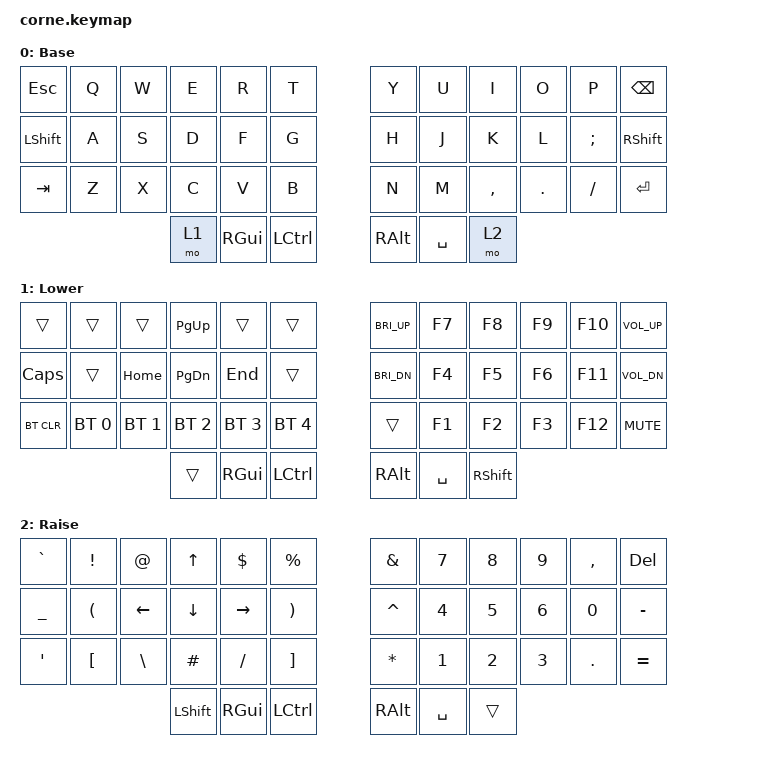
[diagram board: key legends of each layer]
/*
 * Copyright (c) 2020 The ZMK Contributors
 *
 * SPDX-License-Identifier: MIT
 */

#include <behaviors.dtsi>
#include <dt-bindings/zmk/keys.h>
#include <dt-bindings/zmk/bt.h>

/ {
        keymap {
                compatible = "zmk,keymap";

                default_layer {
// -----------------------------------------------------------------------------------------
// | ESC  |  Q  |  W  |  E  |  R  |  T  |   |  Y  |  U  |  I  |  O  |  P  | BKSP |
// | SHFT  |  A  |  S  |  D  |  F  |  G  |   |  H  |  J  |  K  |  L  |  ;  | SHFT  |
// | TAB |  Z  |  X  |  C  |  V  |  B  |   |  N  |  M  |  ,  |  .  |  /  | ENT |
//                    | LWR | GUI | CTRL|   | ALT | SPC | RSE |
                        label = "Base";
                        bindings = <
   &kp ESC   &kp Q &kp W &kp E &kp R &kp T   &kp Y &kp U  &kp I     &kp O   &kp P    &kp BSPC
   &kp LSHFT &kp A &kp S &kp D &kp F &kp G   &kp H &kp J  &kp K     &kp L   &kp SEMI &kp RSHFT
   &kp TAB   &kp Z &kp X &kp C &kp V &kp B   &kp N &kp M  &kp COMMA &kp DOT &kp FSLH &kp RET
                    &mo 1 &kp RGUI &kp LCTRL   &kp RALT &kp SPACE &mo 2
                        >;
                };

                lower_layer {
// -----------------------------------------------------------------------------------------
// |      |     |     | PGUP|     |     |   |BRI_UP| F7  | F8  | F9  | F10 |VOL_UP|
// | CAPS |     | HOME| PGDN| END |     |   |BRI_DN| F4  | F5  | F6  | F11 |VOL_DN|
// | BTCLR| BT0 | BT1 | BT2 | BT3 | BT4 |   |      | F1  | F2  | F3  | F12 | MUTE |
//                    | LWR | GUI | CTRL|   | ALT | SPC | SHFT|
                        label = "Lower";
                        bindings = <
   &trans     &trans       &trans       &kp PG_UP    &trans       &trans         &kp C_BRI_UP &kp F7 &kp F8 &kp F9 &kp F10 &kp C_VOL_UP
   &kp CAPS   &trans       &kp HOME     &kp PG_DN    &kp END      &trans         &kp C_BRI_DN &kp F4 &kp F5 &kp F6 &kp F11 &kp C_VOL_DN
   &bt BT_CLR &bt BT_SEL 0 &bt BT_SEL 1 &bt BT_SEL 2 &bt BT_SEL 3 &bt BT_SEL 4   &trans       &kp F1 &kp F2 &kp F3 &kp F12 &kp C_MUTE
                                         &trans       &kp RGUI     &kp LCTRL      &kp RALT     &kp SPACE &kp RSHFT
                        >;
                };

                raise_layer {
// -----------------------------------------------------------------------------------------
// |  `  |  !  |  @  |  ↑  |  $  |  %  |   |  &  |  7  |  8  |  9  |  ,  | DEL  |
// |  _  |  (  |  ←  |  ↓  |  →  |  )  |   |  ^  |  4  |  5  |  6  |  0  |  -   |
// |  '  |  [  |  \  |  #  |  /  |  ]  |   |  *  |  1  |  2  |  3  |  .  |  =   |
//                   | SHFT| GUI | CTRL|   | ALT | SPC | RSE |
                        label = "Raise";
                        bindings = <
   &kp GRAVE &kp EXCL  &kp AT   &kp UP   &kp DLLR  &kp PRCNT   &kp AMPS  &kp N7 &kp N8 &kp N9 &kp COMMA &kp DEL
   &kp UNDER &kp LPAR  &kp LEFT &kp DOWN &kp RIGHT &kp RPAR    &kp CARET &kp N4 &kp N5 &kp N6 &kp N0          &kp MINUS
   &kp SQT   &kp LBKT  &kp BSLH &kp HASH &kp FSLH  &kp RBKT    &kp ASTRK &kp N1 &kp N2 &kp N3 &kp DOT         &kp EQUAL
                        &kp LSHFT &kp RGUI &kp LCTRL             &kp RALT  &kp SPACE &trans
                        >;
                };
        };
};
